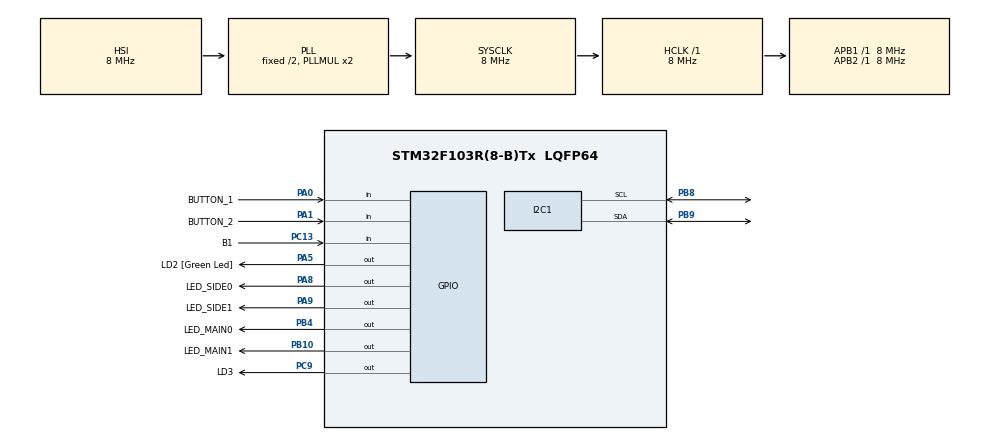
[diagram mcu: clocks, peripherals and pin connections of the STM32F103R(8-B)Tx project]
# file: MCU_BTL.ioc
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Mcu.Family=STM32F1
Mcu.Name=STM32F103R(8-B)Tx
Mcu.Package=LQFP64
NVIC.I2C1_EV_IRQn=true\:0\:0\:false\:false\:true\:true\:true
NVIC.PriorityGroup=NVIC_PRIORITYGROUP_4
NVIC.TIM2_IRQn=true\:0\:0\:false\:false\:true\:true\:true
PA0-WKUP.GPIO_Label=BUTTON_1
PA0-WKUP.Signal=GPIO_Input
PA1.GPIO_Label=BUTTON_2
PA1.Signal=GPIO_Input
PA13.GPIO_Label=TMS
PA13.Mode=Serial_Wire
PA13.Signal=SYS_JTMS-SWDIO
PA14.GPIO_Label=TCK
PA14.Mode=Serial_Wire
PA14.Signal=SYS_JTCK-SWCLK
PA5.GPIO_Label=LD2 [Green Led]
PA5.GPIO_ModeDefaultOutputPP=GPIO_MODE_OUTPUT_PP
PA5.GPIO_PuPd=GPIO_NOPULL
PA5.GPIO_Speed=GPIO_SPEED_FREQ_LOW
PA5.Signal=GPIO_Output
PA8.GPIO_Label=LED_SIDE0
PA8.Signal=GPIO_Output
PA9.GPIO_Label=LED_SIDE1
PA9.Signal=GPIO_Output
PB10.GPIO_Label=LED_MAIN1
PB10.Signal=GPIO_Output
PB3.GPIO_Label=SWO
PB3.Signal=SYS_JTDO-TRACESWO
PB4.GPIO_Label=LED_MAIN0
PB4.Signal=GPIO_Output
PB8.Mode=I2C
PB8.Signal=I2C1_SCL
PB9.Mode=I2C
PB9.Signal=I2C1_SDA
PC13-TAMPER-RTC.GPIO_Label=B1
PC13-TAMPER-RTC.Signal=GPIO_Input
PC14-OSC32_IN.Mode=LSE-External-Oscillator
PC14-OSC32_IN.Signal=RCC_OSC32_IN
PC15-OSC32_OUT.Mode=LSE-External-Oscillator
PC15-OSC32_OUT.Signal=RCC_OSC32_OUT
PC9.GPIO_Label=LD3
PC9.Signal=GPIO_Output
PD0-OSC_IN.Mode=HSE-External-Clock-Source
PD0-OSC_IN.Signal=RCC_OSC_IN
PD1-OSC_OUT.Mode=HSE-External-Clock-Source
PD1-OSC_OUT.Signal=RCC_OSC_OUT
ProjectManager.HeapSize=0x200
ProjectManager.StackSize=0x400
ProjectManager.TargetToolchain=STM32CubeIDE
RCC.AHBFreq_Value=8000000
RCC.APB1Freq_Value=8000000
RCC.APB1TimFreq_Value=8000000
RCC.APB2Freq_Value=8000000
RCC.APB2TimFreq_Value=8000000
RCC.HCLKFreq_Value=8000000
RCC.RTCClockSelection=RCC_RTCCLKSOURCE_LSE
RCC.SYSCLKFreq_VALUE=8000000
RCC.SYSCLKSource=RCC_SYSCLKSOURCE_PLLCLK
RCC.USBFreq_Value=8000000
TIM2.Period=7999
TIM2.Prescaler=9
VP_IWDG_VS_IWDG.Mode=IWDG_Activate
VP_TIM2_VS_ClockSourceINT.Mode=Internal
board=NUCLEO-F103RB

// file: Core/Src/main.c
/* USER CODE BEGIN Header */
/**
  ******************************************************************************
  * @file           : main.c
  * @brief          : Main program body
  ******************************************************************************
  * @attention
  *
  * <h2><center>&copy; Copyright (c) 2024 STMicroelectronics.
  * All rights reserved.</center></h2>
  *
  * This software component is licensed by ST under BSD 3-Clause license,
  * the "License"; You may not use this file except in compliance with the
  * License. You may obtain a copy of the License at:
  *                        opensource.org/licenses/BSD-3-Clause
  *
  ******************************************************************************
  */
/* USER CODE END Header */
#include "main.h"

/* USER CODE BEGIN Includes */
#include "global.h"
#include "input_reading.h"
#include "fsm_run.h"
#include "fsm_input_driven.h"
#include "Scheduler.h"
#include "SCH_Task.h"
#include "traffic_light.h"
#include "LCD_I2C.h"
/* USER CODE END Includes */

I2C_HandleTypeDef hi2c1;

IWDG_HandleTypeDef hiwdg;

TIM_HandleTypeDef htim2;

void SystemClock_Config(void);
static void MX_GPIO_Init(void);
static void MX_I2C1_Init(void);
static void MX_TIM2_Init(void);
static void MX_IWDG_Init(void);

int main(void)
{

  /* MCU Configuration--------------------------------------------------------*/

  /* Reset of all peripherals, Initializes the Flash interface and the Systick. */
  HAL_Init();

  /* Configure the system clock */
  SystemClock_Config();

  /* Initialize all configured peripherals */
  MX_GPIO_Init();
  MX_I2C1_Init();
  MX_TIM2_Init();
  MX_IWDG_Init();
  /* USER CODE BEGIN 2 */
  SCH_Init();
  lcd_init();

  char bufff[17];
  sprintf(bufff, "<SYSTEM RESTART>");
  lcd_goto_XY(0, 0);
  lcd_send_string(bufff);
  sprintf(bufff, "Tr Dat (__'){");
  lcd_goto_XY(1, 0);
  lcd_send_string(bufff);
  HAL_Delay(1000);
  lcd_clear_display();

  SCH_AddTask(LedBlinky, 0, 50);
//  SCH_AddTask(LedBlinky1, 100, 50);
  SCH_AddTask(displayLCD, 50, 50);
  /* USER CODE END 2 */

  /* Infinite loop */
  while (1)
  {

    /* USER CODE BEGIN 3 */
#ifdef UNIT_TEST
	  	  unit_test_button_press();
//	  	  unit_test_button_read();
#endif
	  //	  SCH
	  	  SCH_Dispatch();
	  //	   FSM
	  	  fsm_run(m_mode);
  }
  /* USER CODE END 3 */
}

void SystemClock_Config(void)
{
  RCC_OscInitTypeDef RCC_OscInitStruct = {0};
  RCC_ClkInitTypeDef RCC_ClkInitStruct = {0};

  /** Initializes the RCC Oscillators according to the specified parameters
  * in the RCC_OscInitTypeDef structure.
  */
  RCC_OscInitStruct.OscillatorType = RCC_OSCILLATORTYPE_HSI|RCC_OSCILLATORTYPE_LSI;
  RCC_OscInitStruct.HSIState = RCC_HSI_ON;
  RCC_OscInitStruct.HSICalibrationValue = RCC_HSICALIBRATION_DEFAULT;
  RCC_OscInitStruct.LSIState = RCC_LSI_ON;
  RCC_OscInitStruct.PLL.PLLState = RCC_PLL_ON;
  RCC_OscInitStruct.PLL.PLLSource = RCC_PLLSOURCE_HSI_DIV2;
  RCC_OscInitStruct.PLL.PLLMUL = RCC_PLL_MUL2;
  if (HAL_RCC_OscConfig(&RCC_OscInitStruct) != HAL_OK)
  {
    Error_Handler();
  }
  /** Initializes the CPU, AHB and APB buses clocks
  */
  RCC_ClkInitStruct.ClockType = RCC_CLOCKTYPE_HCLK|RCC_CLOCKTYPE_SYSCLK
                              |RCC_CLOCKTYPE_PCLK1|RCC_CLOCKTYPE_PCLK2;
  RCC_ClkInitStruct.SYSCLKSource = RCC_SYSCLKSOURCE_PLLCLK;
  RCC_ClkInitStruct.AHBCLKDivider = RCC_SYSCLK_DIV1;
  RCC_ClkInitStruct.APB1CLKDivider = RCC_HCLK_DIV1;
  RCC_ClkInitStruct.APB2CLKDivider = RCC_HCLK_DIV1;

  if (HAL_RCC_ClockConfig(&RCC_ClkInitStruct, FLASH_LATENCY_0) != HAL_OK)
  {
    Error_Handler();
  }
}

static void MX_I2C1_Init(void)
{

  hi2c1.Instance = I2C1;
  hi2c1.Init.ClockSpeed = 100000;
  hi2c1.Init.DutyCycle = I2C_DUTYCYCLE_2;
  hi2c1.Init.OwnAddress1 = 0;
  hi2c1.Init.AddressingMode = I2C_ADDRESSINGMODE_7BIT;
  hi2c1.Init.DualAddressMode = I2C_DUALADDRESS_DISABLE;
  hi2c1.Init.OwnAddress2 = 0;
  hi2c1.Init.GeneralCallMode = I2C_GENERALCALL_DISABLE;
  hi2c1.Init.NoStretchMode = I2C_NOSTRETCH_DISABLE;
  if (HAL_I2C_Init(&hi2c1) != HAL_OK)
  {
    Error_Handler();
  }

}

static void MX_IWDG_Init(void)
{

  hiwdg.Instance = IWDG;
  hiwdg.Init.Prescaler = IWDG_PRESCALER_4;
  hiwdg.Init.Reload = 4095;
  if (HAL_IWDG_Init(&hiwdg) != HAL_OK)
  {
    Error_Handler();
  }

}

static void MX_TIM2_Init(void)
{

  TIM_ClockConfigTypeDef sClockSourceConfig = {0};
  TIM_MasterConfigTypeDef sMasterConfig = {0};

  htim2.Instance = TIM2;
  htim2.Init.Prescaler = 9;
  htim2.Init.CounterMode = TIM_COUNTERMODE_UP;
  htim2.Init.Period = 7999;
  htim2.Init.ClockDivision = TIM_CLOCKDIVISION_DIV1;
  htim2.Init.AutoReloadPreload = TIM_AUTORELOAD_PRELOAD_DISABLE;
  if (HAL_TIM_Base_Init(&htim2) != HAL_OK)
  {
    Error_Handler();
  }
  sClockSourceConfig.ClockSource = TIM_CLOCKSOURCE_INTERNAL;
  if (HAL_TIM_ConfigClockSource(&htim2, &sClockSourceConfig) != HAL_OK)
  {
    Error_Handler();
  }
  sMasterConfig.MasterOutputTrigger = TIM_TRGO_RESET;
  sMasterConfig.MasterSlaveMode = TIM_MASTERSLAVEMODE_DISABLE;
  if (HAL_TIMEx_MasterConfigSynchronization(&htim2, &sMasterConfig) != HAL_OK)
  {
    Error_Handler();
  }

}

static void MX_GPIO_Init(void)
{
  GPIO_InitTypeDef GPIO_InitStruct = {0};

  /* GPIO Ports Clock Enable */
  __HAL_RCC_GPIOC_CLK_ENABLE();
  __HAL_RCC_GPIOD_CLK_ENABLE();
  __HAL_RCC_GPIOA_CLK_ENABLE();
  __HAL_RCC_GPIOB_CLK_ENABLE();

  /*Configure GPIO pin Output Level */
  HAL_GPIO_WritePin(GPIOA, LD2_Pin|LED_SIDE0_Pin|LED_SIDE1_Pin, GPIO_PIN_RESET);

  /*Configure GPIO pin Output Level */
  HAL_GPIO_WritePin(GPIOB, LED_MAIN1_Pin|LED_MAIN0_Pin, GPIO_PIN_RESET);

  /*Configure GPIO pin Output Level */
  HAL_GPIO_WritePin(LD3_GPIO_Port, LD3_Pin, GPIO_PIN_RESET);

  /*Configure GPIO pin : B1_Pin */
  GPIO_InitStruct.Pin = B1_Pin;
  GPIO_InitStruct.Mode = GPIO_MODE_INPUT;
  GPIO_InitStruct.Pull = GPIO_NOPULL;
  HAL_GPIO_Init(B1_GPIO_Port, &GPIO_InitStruct);

  /*Configure GPIO pins : BUTTON_1_Pin BUTTON_2_Pin */
  GPIO_InitStruct.Pin = BUTTON_1_Pin|BUTTON_2_Pin;
  GPIO_InitStruct.Mode = GPIO_MODE_INPUT;
  GPIO_InitStruct.Pull = GPIO_NOPULL;
  HAL_GPIO_Init(GPIOA, &GPIO_InitStruct);

  /*Configure GPIO pins : LD2_Pin LED_SIDE0_Pin LED_SIDE1_Pin */
  GPIO_InitStruct.Pin = LD2_Pin|LED_SIDE0_Pin|LED_SIDE1_Pin;
  GPIO_InitStruct.Mode = GPIO_MODE_OUTPUT_PP;
  GPIO_InitStruct.Pull = GPIO_NOPULL;
  GPIO_InitStruct.Speed = GPIO_SPEED_FREQ_LOW;
  HAL_GPIO_Init(GPIOA, &GPIO_InitStruct);

  /*Configure GPIO pins : LED_MAIN1_Pin LED_MAIN0_Pin */
  GPIO_InitStruct.Pin = LED_MAIN1_Pin|LED_MAIN0_Pin;
  GPIO_InitStruct.Mode = GPIO_MODE_OUTPUT_PP;
  GPIO_InitStruct.Pull = GPIO_NOPULL;
  GPIO_InitStruct.Speed = GPIO_SPEED_FREQ_LOW;
  HAL_GPIO_Init(GPIOB, &GPIO_InitStruct);

  /*Configure GPIO pin : LD3_Pin */
  GPIO_InitStruct.Pin = LD3_Pin;
  GPIO_InitStruct.Mode = GPIO_MODE_OUTPUT_PP;
  GPIO_InitStruct.Pull = GPIO_NOPULL;
  GPIO_InitStruct.Speed = GPIO_SPEED_FREQ_LOW;
  HAL_GPIO_Init(LD3_GPIO_Port, &GPIO_InitStruct);

}

void Error_Handler(void)
{
  __disable_irq();
  while (1)
  {
  }
}

/************************ (C) COPYRIGHT STMicroelectronics *****END OF FILE****/
